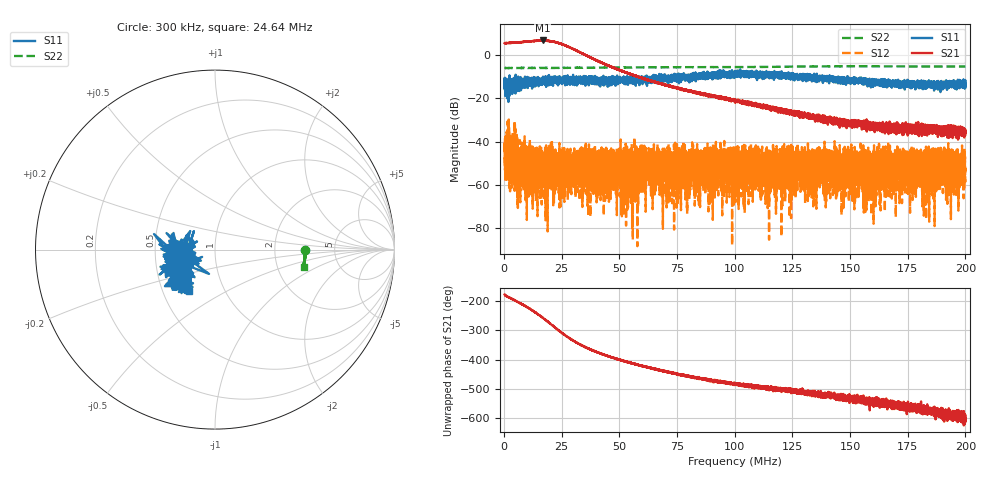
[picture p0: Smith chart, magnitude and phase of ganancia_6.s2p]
# Hz S DB R 50
! CMT, M5065, 19127446, 24.2.4/2
! Date: 11/8/2024 2:40:26 PM
! Data: Format (Calibration Info)
! Freq	S11:dB/Ang(F2)	S21:dB/Ang(F2)	S12:dB/Ang(F2)	S22:dB/Ang(F2)
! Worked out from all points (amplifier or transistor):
!   9000 points, 300 kHz to 200 MHz, reference 50 ohm
!   highest |S21| = 6.7 dB at 16.83 MHz (marker M1)
!   |S21| within 3 dB of that: start of sweep to 28.11 MHz
!   unconditionally stable (mu >= 1): start of sweep to end of sweep
!   at 33.59 MHz: K = 69.22, MAG = 2.4 dB, |S12| = -46.8 dB
!   at 100.2 MHz: K = 3647.17, MAG = -18.9 dB, |S12| = -60.5 dB
!   at 200 MHz: K = 9605.31, MAG = -33.9 dB, |S12| = -53.5 dB
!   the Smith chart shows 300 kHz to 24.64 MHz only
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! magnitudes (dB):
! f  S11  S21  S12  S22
! 300 kHz  -13.3  5.5  -44.5  -6.0
! 9.798 MHz  -12.9  6.2  -49.0  -6.0
! 11.46 MHz  -13.6  6.3  -49.4  -6.0
! 14.95 MHz  -12.6  6.6  -48.4  -6.0
! 16.83 MHz  -11.7  6.7  -45.9  -6.0
! 33.59 MHz  -12.4  0.9  -46.8  -5.9
! 50.1 MHz  -12.9  -7.1  -48.8  -5.8
! 52.87 MHz  -13.5  -8.2  -56.6  -5.8
! 59.86 MHz  -10.0  -10.5  -52.5  -5.7
! 66.87 MHz  -10.1  -12.8  -52.2  -5.7
! 73.15 MHz  -10.3  -14.5  -51.5  -5.7
! 81.94 MHz  -11.5  -16.7  -41.4  -5.6
! 85.56 MHz  -9.6  -17.7  -51.7  -5.6
! 93.24 MHz  -8.8  -19.5  -50.0  -5.6
! 100.2 MHz  -8.2  -21.0  -60.5  -5.6
! 102.9 MHz  -9.9  -21.9  -65.2  -5.6
! 111.3 MHz  -9.3  -23.9  -51.0  -5.5
! 133.4 MHz  -10.9  -28.7  -47.4  -5.3
! 166.7 MHz  -13.9  -34.1  -48.0  -5.2
! 184 MHz  -13.6  -34.8  -58.1  -5.3
! 195 MHz  -15.1  -35.5  -47.5  -5.3
! 200 MHz  -14.3  -35.5  -53.5  -5.3
